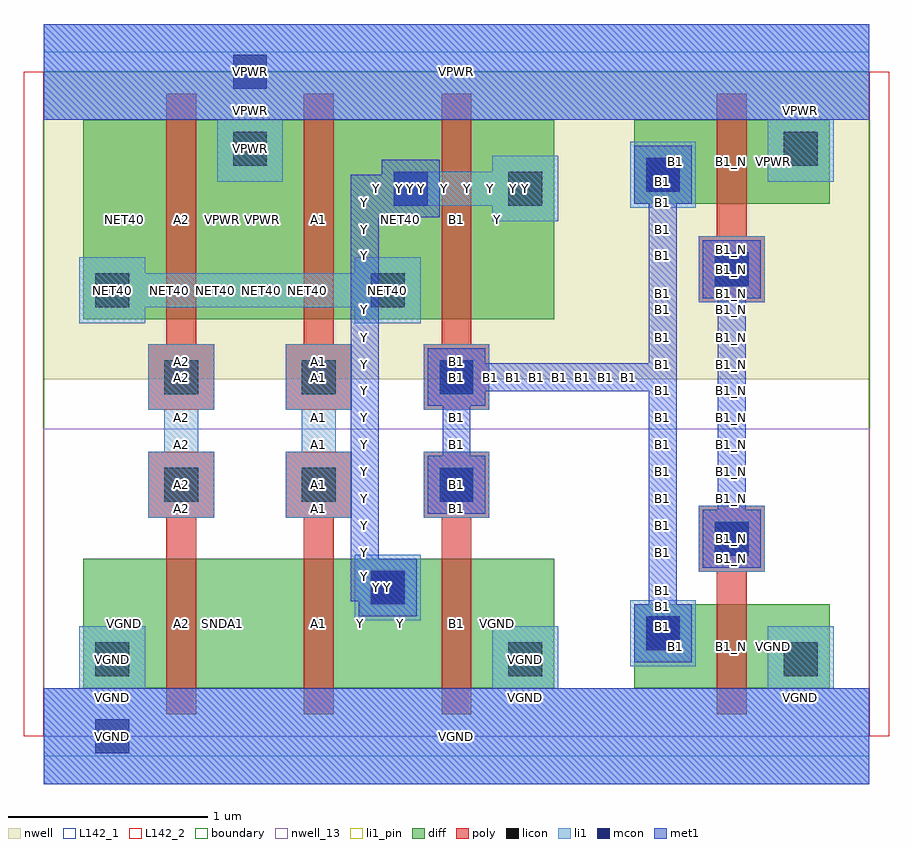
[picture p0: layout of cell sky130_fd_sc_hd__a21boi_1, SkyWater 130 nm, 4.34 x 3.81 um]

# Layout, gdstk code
import gdstk
lib = gdstk.Library(unit=1e-6, precision=1e-09)
def R(c, l, rs):  # rectangles x0, y0, x1, y1
    for r in rs: c.add(gdstk.rectangle(r[:2], r[2:], *l))
def A(c, l, x, y, w, h, nx, ny, dx, dy):  # array of equal rectangles
    R(c, l, [(x+i*dx, y+j*dy, x+i*dx+w, y+j*dy+h) for i in range(nx) for j in range(ny)])
def P(c, l, *ps):  # polygons
    for p in ps: c.add(gdstk.Polygon(p, *l))
nwell_13 = (64, 13)
nwell = (64, 20)
diff = (65, 20)
poly = (66, 20)
licon = (66, 44)
li1_pin = (67, 16)
li1 = (67, 20)
mcon = (67, 44)
met1 = (68, 20)
L142_1 = (142, 1)
L142_2 = (142, 2)
boundary = (235, 4)

sky130_fd_sc_hd__a21boi_ = lib.new_cell('sky130_fd_sc_hd__a21boi_1')
R(sky130_fd_sc_hd__a21boi_, nwell_13, [(0,0,4.14,1.54)])
R(sky130_fd_sc_hd__a21boi_, nwell, [(0,1.79,4.14,3.33)])
R(sky130_fd_sc_hd__a21boi_, diff, [(0.2,0.24,2.56,0.89), (0.2,0.24,0.615,0.89), (0.615,0.24,1.305,0.89), (1.305,0.24,1.995,0.89), (1.995,0.24,2.56,0.89), (2.96,0.24,3.94,0.66), (2.96,0.24,3.375,0.66), (3.375,0.24,3.94,0.66), (0.2,2.09,2.56,3.09), (0.2,2.09,0.615,3.09), (0.615,2.09,1.305,3.09), (1.305,2.09,1.995,3.09), (1.995,2.09,2.56,3.09), (2.96,2.67,3.94,3.09), (2.96,2.67,3.375,3.09), (3.375,2.67,3.94,3.09)])
P(sky130_fd_sc_hd__a21boi_, poly, [(3.375,0.11),(3.375,0.825),(3.285,0.825),(3.285,1.155),(3.615,1.155),(3.615,0.825),(3.525,0.825),(3.525,0.11)],
  [(3.285,2.175),(3.285,2.505),(3.375,2.505),(3.375,3.22),(3.525,3.22),(3.525,2.505),(3.615,2.505),(3.615,2.175)],
  [(0.615,0.11),(0.615,1.095),(0.525,1.095),(0.525,1.425),(0.855,1.425),(0.855,1.095),(0.765,1.095),(0.765,0.11)],
  [(0.525,1.635),(0.525,1.965),(0.615,1.965),(0.615,3.22),(0.765,3.22),(0.765,1.965),(0.855,1.965),(0.855,1.635)],
  [(1.305,0.11),(1.305,1.095),(1.215,1.095),(1.215,1.425),(1.545,1.425),(1.545,1.095),(1.455,1.095),(1.455,0.11)],
  [(1.215,1.635),(1.215,1.965),(1.305,1.965),(1.305,3.22),(1.455,3.22),(1.455,1.965),(1.545,1.965),(1.545,1.635)],
  [(1.995,0.11),(1.995,1.095),(1.905,1.095),(1.905,1.425),(2.235,1.425),(2.235,1.095),(2.145,1.095),(2.145,0.11)],
  [(1.905,1.635),(1.905,1.965),(1.995,1.965),(1.995,3.22),(2.145,3.22),(2.145,1.965),(2.235,1.965),(2.235,1.635)])
A(sky130_fd_sc_hd__a21boi_, licon, 0.605, 1.175, 0.17, 0.17, 3, 2, 0.69, 0.54)
R(sky130_fd_sc_hd__a21boi_, licon, [(0.26,0.3,0.43,0.47), (2.33,0.3,2.5,0.47), (3.71,0.3,3.88,0.47), (3.02,0.43,3.19,0.6), (1.64,0.66,1.81,0.83), (3.365,0.905,3.535,1.075), (0.26,2.15,0.43,2.32), (1.64,2.15,1.81,2.32), (3.365,2.255,3.535,2.425), (2.33,2.66,2.5,2.83), (3.02,2.73,3.19,2.9), (0.95,2.86,1.12,3.03), (3.71,2.86,3.88,3.03)])
R(sky130_fd_sc_hd__a21boi_, li1_pin, [(0,-0.24,4.14,0.24), (1.56,0.58,1.89,0.91), (3.285,0.825,3.615,1.155), (0,3.09,4.14,3.57)])
P(sky130_fd_sc_hd__a21boi_, li1_pin, [(0.525,1.095),(0.525,1.425),(0.605,1.425),(0.605,1.635),(0.525,1.635),(0.525,1.965),(0.855,1.965),(0.855,1.635),(0.775,1.635),(0.775,1.425),(0.855,1.425),(0.855,1.095)],
  [(1.215,1.095),(1.215,1.425),(1.295,1.425),(1.295,1.635),(1.215,1.635),(1.215,1.965),(1.545,1.965),(1.545,1.635),(1.465,1.635),(1.465,1.425),(1.545,1.425),(1.545,1.095)])
R(sky130_fd_sc_hd__a21boi_, li1, [(2.94,0.35,3.27,0.68), (1.56,0.58,1.89,0.91), (3.285,0.825,3.615,1.155), (1.905,1.095,2.235,1.425), (1.905,1.635,2.235,1.965), (3.285,2.175,3.615,2.505), (2.94,2.65,3.27,2.98)])
P(sky130_fd_sc_hd__a21boi_, li1, [(2.25,2.58),(2.25,2.66),(1.755,2.66),(1.755,2.83),(2.25,2.83),(2.25,2.91),(2.58,2.91),(2.58,2.58)],
  [(0.525,1.095),(0.525,1.425),(0.605,1.425),(0.605,1.635),(0.525,1.635),(0.525,1.965),(0.855,1.965),(0.855,1.635),(0.775,1.635),(0.775,1.425),(0.855,1.425),(0.855,1.095)],
  [(0.87,2.78),(0.87,3.09),(0,3.09),(0,3.57),(4.14,3.57),(4.14,3.09),(3.96,3.09),(3.96,2.78),(3.63,2.78),(3.63,3.09),(1.2,3.09),(1.2,2.78)],
  [(0.18,2.07),(0.18,2.4),(0.51,2.4),(0.51,2.32),(1.56,2.32),(1.56,2.4),(1.89,2.4),(1.89,2.07),(1.56,2.07),(1.56,2.15),(0.51,2.15),(0.51,2.07)],
  [(1.215,1.095),(1.215,1.425),(1.295,1.425),(1.295,1.635),(1.215,1.635),(1.215,1.965),(1.545,1.965),(1.545,1.635),(1.465,1.635),(1.465,1.425),(1.545,1.425),(1.545,1.095)],
  [(0,-0.24),(0,0.24),(0.18,0.24),(0.18,0.55),(0.51,0.55),(0.51,0.24),(2.25,0.24),(2.25,0.55),(2.58,0.55),(2.58,0.24),(3.63,0.24),(3.63,0.55),(3.96,0.55),(3.96,0.24),(4.14,0.24),(4.14,-0.24)])
R(sky130_fd_sc_hd__a21boi_, mcon, [(0.26,-0.085,0.43,0.085), (3.02,0.43,3.19,0.6), (1.64,0.66,1.81,0.83), (3.365,0.905,3.535,1.075), (1.985,1.175,2.155,1.345), (1.985,1.715,2.155,1.885), (3.365,2.255,3.535,2.425), (1.755,2.66,1.925,2.83), (3.02,2.73,3.19,2.9), (0.95,3.245,1.12,3.415)])
R(sky130_fd_sc_hd__a21boi_, met1, [(0,-0.24,4.14,0.24), (1.68,2.6,1.695,2.675), (0,3.09,4.14,3.57)])
P(sky130_fd_sc_hd__a21boi_, met1, [(1.58,0.6),(1.58,0.675),(1.54,0.675),(1.54,2.815),(1.695,2.815),(1.695,2.89),(1.985,2.89),(1.985,2.6),(1.695,2.6),(1.695,2.675),(1.68,2.675),(1.68,0.89),(1.87,0.89),(1.87,0.6)],
  [(3.305,0.845),(3.305,1.135),(3.38,1.135),(3.38,2.195),(3.305,2.195),(3.305,2.485),(3.595,2.485),(3.595,2.195),(3.52,2.195),(3.52,1.135),(3.595,1.135),(3.595,0.845)],
  [(2.96,0.37),(2.96,0.66),(3.035,0.66),(3.035,1.73),(2.215,1.73),(2.215,1.655),(2.14,1.655),(2.14,1.405),(2.215,1.405),(2.215,1.115),(1.925,1.115),(1.925,1.405),(2,1.405),(2,1.655),(1.925,1.655),(1.925,1.945),(2.215,1.945),(2.215,1.87),(3.035,1.87),(3.035,2.67),(2.96,2.67),(2.96,2.96),(3.25,2.96),(3.25,2.67),(3.175,2.67),(3.175,0.66),(3.25,0.66),(3.25,0.37)])
R(sky130_fd_sc_hd__a21boi_, L142_1, [(0,-0.1,4.14,0), (0,3.33,4.14,3.43)])
R(sky130_fd_sc_hd__a21boi_, L142_2, [(-0.1,0,0,3.33), (4.14,0,4.24,3.33)])
R(sky130_fd_sc_hd__a21boi_, boundary, [(0,0,4.14,3.33)])
sky130_fd_sc_hd__a21boi_.add(gdstk.Label('VGND', (0.407,0.565), layer=65, texttype=20))
sky130_fd_sc_hd__a21boi_.add(gdstk.Label('SNDA1', (0.897,0.565), layer=65, texttype=20))
sky130_fd_sc_hd__a21boi_.add(gdstk.Label('Y', (1.787,0.565), layer=65, texttype=20))
sky130_fd_sc_hd__a21boi_.add(gdstk.Label('VGND', (2.277,0.565), layer=65, texttype=20))
sky130_fd_sc_hd__a21boi_.add(gdstk.Label('B1', (3.167,0.45), layer=65, texttype=20))
sky130_fd_sc_hd__a21boi_.add(gdstk.Label('VGND', (3.657,0.45), layer=65, texttype=20))
sky130_fd_sc_hd__a21boi_.add(gdstk.Label('SNDA1', (1.097,0.565), layer=65, texttype=20))
sky130_fd_sc_hd__a21boi_.add(gdstk.Label('Y', (1.587,0.565), layer=65, texttype=20))
sky130_fd_sc_hd__a21boi_.add(gdstk.Label('VGND', (0.407,0.565), layer=65, texttype=20))
sky130_fd_sc_hd__a21boi_.add(gdstk.Label('SNDA1', (0.897,0.565), layer=65, texttype=20))
sky130_fd_sc_hd__a21boi_.add(gdstk.Label('Y', (1.787,0.565), layer=65, texttype=20))
sky130_fd_sc_hd__a21boi_.add(gdstk.Label('VGND', (2.277,0.565), layer=65, texttype=20))
sky130_fd_sc_hd__a21boi_.add(gdstk.Label('B1', (3.167,0.45), layer=65, texttype=20))
sky130_fd_sc_hd__a21boi_.add(gdstk.Label('VGND', (3.657,0.45), layer=65, texttype=20))
sky130_fd_sc_hd__a21boi_.add(gdstk.Label('SNDA1', (1.097,0.565), layer=65, texttype=20))
sky130_fd_sc_hd__a21boi_.add(gdstk.Label('Y', (1.587,0.565), layer=65, texttype=20))
sky130_fd_sc_hd__a21boi_.add(gdstk.Label('VGND', (0.345,0.385), layer=65, texttype=20))
sky130_fd_sc_hd__a21boi_.add(gdstk.Label('VGND', (2.415,0.385), layer=65, texttype=20))
sky130_fd_sc_hd__a21boi_.add(gdstk.Label('VGND', (3.795,0.385), layer=65, texttype=20))
sky130_fd_sc_hd__a21boi_.add(gdstk.Label('Y', (1.725,0.745), layer=65, texttype=20))
sky130_fd_sc_hd__a21boi_.add(gdstk.Label('B1', (3.105,0.515), layer=65, texttype=20))
sky130_fd_sc_hd__a21boi_.add(gdstk.Label('NET40', (0.407,2.59), layer=65, texttype=20))
sky130_fd_sc_hd__a21boi_.add(gdstk.Label('VPWR', (0.897,2.59), layer=65, texttype=20))
sky130_fd_sc_hd__a21boi_.add(gdstk.Label('NET40', (1.787,2.59), layer=65, texttype=20))
sky130_fd_sc_hd__a21boi_.add(gdstk.Label('Y', (2.277,2.59), layer=65, texttype=20))
sky130_fd_sc_hd__a21boi_.add(gdstk.Label('B1', (3.167,2.88), layer=65, texttype=20))
sky130_fd_sc_hd__a21boi_.add(gdstk.Label('VPWR', (3.657,2.88), layer=65, texttype=20))
sky130_fd_sc_hd__a21boi_.add(gdstk.Label('VPWR', (1.097,2.59), layer=65, texttype=20))
sky130_fd_sc_hd__a21boi_.add(gdstk.Label('NET40', (1.587,2.59), layer=65, texttype=20))
sky130_fd_sc_hd__a21boi_.add(gdstk.Label('NET40', (0.407,2.59), layer=65, texttype=20))
sky130_fd_sc_hd__a21boi_.add(gdstk.Label('VPWR', (0.897,2.59), layer=65, texttype=20))
sky130_fd_sc_hd__a21boi_.add(gdstk.Label('NET40', (1.787,2.59), layer=65, texttype=20))
sky130_fd_sc_hd__a21boi_.add(gdstk.Label('Y', (2.277,2.59), layer=65, texttype=20))
sky130_fd_sc_hd__a21boi_.add(gdstk.Label('B1', (3.167,2.88), layer=65, texttype=20))
sky130_fd_sc_hd__a21boi_.add(gdstk.Label('VPWR', (3.657,2.88), layer=65, texttype=20))
sky130_fd_sc_hd__a21boi_.add(gdstk.Label('VPWR', (1.097,2.59), layer=65, texttype=20))
sky130_fd_sc_hd__a21boi_.add(gdstk.Label('NET40', (1.587,2.59), layer=65, texttype=20))
sky130_fd_sc_hd__a21boi_.add(gdstk.Label('Y', (2.415,2.745), layer=65, texttype=20))
sky130_fd_sc_hd__a21boi_.add(gdstk.Label('B1', (3.105,2.815), layer=65, texttype=20))
sky130_fd_sc_hd__a21boi_.add(gdstk.Label('NET40', (0.345,2.235), layer=65, texttype=20))
sky130_fd_sc_hd__a21boi_.add(gdstk.Label('NET40', (1.725,2.235), layer=65, texttype=20))
sky130_fd_sc_hd__a21boi_.add(gdstk.Label('VPWR', (1.035,2.945), layer=65, texttype=20))
sky130_fd_sc_hd__a21boi_.add(gdstk.Label('VPWR', (3.795,2.945), layer=65, texttype=20))
sky130_fd_sc_hd__a21boi_.add(gdstk.Label('A2', (0.69,2.59), layer=66, texttype=20))
sky130_fd_sc_hd__a21boi_.add(gdstk.Label('B1', (2.07,2.59), layer=66, texttype=20))
sky130_fd_sc_hd__a21boi_.add(gdstk.Label('B1_N', (3.45,2.88), layer=66, texttype=20))
sky130_fd_sc_hd__a21boi_.add(gdstk.Label('A2', (0.69,0.565), layer=66, texttype=20))
sky130_fd_sc_hd__a21boi_.add(gdstk.Label('B1', (2.07,0.565), layer=66, texttype=20))
sky130_fd_sc_hd__a21boi_.add(gdstk.Label('A1', (1.38,2.59), layer=66, texttype=20))
sky130_fd_sc_hd__a21boi_.add(gdstk.Label('B1_N', (3.45,0.45), layer=66, texttype=20))
sky130_fd_sc_hd__a21boi_.add(gdstk.Label('A1', (1.38,0.565), layer=66, texttype=20))
sky130_fd_sc_hd__a21boi_.add(gdstk.Label('A2', (0.69,2.59), layer=66, texttype=20))
sky130_fd_sc_hd__a21boi_.add(gdstk.Label('B1', (2.07,2.59), layer=66, texttype=20))
sky130_fd_sc_hd__a21boi_.add(gdstk.Label('B1_N', (3.45,2.88), layer=66, texttype=20))
sky130_fd_sc_hd__a21boi_.add(gdstk.Label('A2', (0.69,0.565), layer=66, texttype=20))
sky130_fd_sc_hd__a21boi_.add(gdstk.Label('B1', (2.07,0.565), layer=66, texttype=20))
sky130_fd_sc_hd__a21boi_.add(gdstk.Label('A1', (1.38,2.59), layer=66, texttype=20))
sky130_fd_sc_hd__a21boi_.add(gdstk.Label('B1_N', (3.45,0.45), layer=66, texttype=20))
sky130_fd_sc_hd__a21boi_.add(gdstk.Label('A1', (1.38,0.565), layer=66, texttype=20))
sky130_fd_sc_hd__a21boi_.add(gdstk.Label('B1', (2.07,1.88), layer=66, texttype=20))
sky130_fd_sc_hd__a21boi_.add(gdstk.Label('B1', (2.07,1.14), layer=66, texttype=20))
sky130_fd_sc_hd__a21boi_.add(gdstk.Label('A2', (0.69,1.88), layer=66, texttype=20))
sky130_fd_sc_hd__a21boi_.add(gdstk.Label('A2', (0.69,1.14), layer=66, texttype=20))
sky130_fd_sc_hd__a21boi_.add(gdstk.Label('B1_N', (3.45,2.44), layer=66, texttype=20))
sky130_fd_sc_hd__a21boi_.add(gdstk.Label('B1_N', (3.45,0.89), layer=66, texttype=20))
sky130_fd_sc_hd__a21boi_.add(gdstk.Label('A1', (1.38,1.88), layer=66, texttype=20))
sky130_fd_sc_hd__a21boi_.add(gdstk.Label('A1', (1.38,1.14), layer=66, texttype=20))
sky130_fd_sc_hd__a21boi_.add(gdstk.Label('B1', (2.07,1.8), layer=66, texttype=20))
sky130_fd_sc_hd__a21boi_.add(gdstk.Label('B1', (2.07,1.26), layer=66, texttype=20))
sky130_fd_sc_hd__a21boi_.add(gdstk.Label('A2', (0.69,1.8), layer=66, texttype=20))
sky130_fd_sc_hd__a21boi_.add(gdstk.Label('A2', (0.69,1.26), layer=66, texttype=20))
sky130_fd_sc_hd__a21boi_.add(gdstk.Label('B1_N', (3.45,2.34), layer=66, texttype=20))
sky130_fd_sc_hd__a21boi_.add(gdstk.Label('B1_N', (3.45,0.99), layer=66, texttype=20))
sky130_fd_sc_hd__a21boi_.add(gdstk.Label('A1', (1.38,1.8), layer=66, texttype=20))
sky130_fd_sc_hd__a21boi_.add(gdstk.Label('A1', (1.38,1.26), layer=66, texttype=20))
sky130_fd_sc_hd__a21boi_.add(gdstk.Label('Y', (2.415,2.745), layer=66, texttype=44))
sky130_fd_sc_hd__a21boi_.add(gdstk.Label('B1', (3.105,2.815), layer=66, texttype=44))
sky130_fd_sc_hd__a21boi_.add(gdstk.Label('NET40', (0.345,2.235), layer=66, texttype=44))
sky130_fd_sc_hd__a21boi_.add(gdstk.Label('NET40', (1.725,2.235), layer=66, texttype=44))
sky130_fd_sc_hd__a21boi_.add(gdstk.Label('VPWR', (1.035,2.945), layer=66, texttype=44))
sky130_fd_sc_hd__a21boi_.add(gdstk.Label('VPWR', (3.795,2.945), layer=66, texttype=44))
sky130_fd_sc_hd__a21boi_.add(gdstk.Label('VGND', (0.345,0.385), layer=66, texttype=44))
sky130_fd_sc_hd__a21boi_.add(gdstk.Label('VGND', (2.415,0.385), layer=66, texttype=44))
sky130_fd_sc_hd__a21boi_.add(gdstk.Label('VGND', (3.795,0.385), layer=66, texttype=44))
sky130_fd_sc_hd__a21boi_.add(gdstk.Label('Y', (1.725,0.745), layer=66, texttype=44))
sky130_fd_sc_hd__a21boi_.add(gdstk.Label('B1', (3.105,0.515), layer=66, texttype=44))
sky130_fd_sc_hd__a21boi_.add(gdstk.Label('B1', (2.07,1.8), layer=66, texttype=44))
sky130_fd_sc_hd__a21boi_.add(gdstk.Label('B1', (2.07,1.26), layer=66, texttype=44))
sky130_fd_sc_hd__a21boi_.add(gdstk.Label('A2', (0.69,1.8), layer=66, texttype=44))
sky130_fd_sc_hd__a21boi_.add(gdstk.Label('A2', (0.69,1.26), layer=66, texttype=44))
sky130_fd_sc_hd__a21boi_.add(gdstk.Label('B1_N', (3.45,2.34), layer=66, texttype=44))
sky130_fd_sc_hd__a21boi_.add(gdstk.Label('B1_N', (3.45,0.99), layer=66, texttype=44))
sky130_fd_sc_hd__a21boi_.add(gdstk.Label('A1', (1.38,1.8), layer=66, texttype=44))
sky130_fd_sc_hd__a21boi_.add(gdstk.Label('A1', (1.38,1.26), layer=66, texttype=44))
sky130_fd_sc_hd__a21boi_.add(gdstk.Label('VPWR', (2.07,3.33), layer=67, texttype=20))
sky130_fd_sc_hd__a21boi_.add(gdstk.Label('VGND', (2.07,0), layer=67, texttype=20))
sky130_fd_sc_hd__a21boi_.add(gdstk.Label('VPWR', (2.07,3.33), layer=67, texttype=20))
sky130_fd_sc_hd__a21boi_.add(gdstk.Label('VGND', (2.07,0), layer=67, texttype=20))
sky130_fd_sc_hd__a21boi_.add(gdstk.Label('VGND', (0.345,0.192), layer=67, texttype=20))
sky130_fd_sc_hd__a21boi_.add(gdstk.Label('VGND', (2.415,0.192), layer=67, texttype=20))
sky130_fd_sc_hd__a21boi_.add(gdstk.Label('VGND', (3.795,0.192), layer=67, texttype=20))
sky130_fd_sc_hd__a21boi_.add(gdstk.Label('Y', (1.897,2.745), layer=67, texttype=20))
sky130_fd_sc_hd__a21boi_.add(gdstk.Label('Y', (2.012,2.745), layer=67, texttype=20))
sky130_fd_sc_hd__a21boi_.add(gdstk.Label('Y', (2.127,2.745), layer=67, texttype=20))
sky130_fd_sc_hd__a21boi_.add(gdstk.Label('Y', (2.242,2.745), layer=67, texttype=20))
sky130_fd_sc_hd__a21boi_.add(gdstk.Label('Y', (2.357,2.745), layer=67, texttype=20))
sky130_fd_sc_hd__a21boi_.add(gdstk.Label('NET40', (0.402,2.235), layer=67, texttype=20))
sky130_fd_sc_hd__a21boi_.add(gdstk.Label('NET40', (0.517,2.235), layer=67, texttype=20))
sky130_fd_sc_hd__a21boi_.add(gdstk.Label('NET40', (0.632,2.235), layer=67, texttype=20))
sky130_fd_sc_hd__a21boi_.add(gdstk.Label('NET40', (0.747,2.235), layer=67, texttype=20))
sky130_fd_sc_hd__a21boi_.add(gdstk.Label('NET40', (0.862,2.235), layer=67, texttype=20))
sky130_fd_sc_hd__a21boi_.add(gdstk.Label('NET40', (0.977,2.235), layer=67, texttype=20))
sky130_fd_sc_hd__a21boi_.add(gdstk.Label('NET40', (1.092,2.235), layer=67, texttype=20))
sky130_fd_sc_hd__a21boi_.add(gdstk.Label('NET40', (1.207,2.235), layer=67, texttype=20))
sky130_fd_sc_hd__a21boi_.add(gdstk.Label('NET40', (1.322,2.235), layer=67, texttype=20))
sky130_fd_sc_hd__a21boi_.add(gdstk.Label('NET40', (1.437,2.235), layer=67, texttype=20))
sky130_fd_sc_hd__a21boi_.add(gdstk.Label('NET40', (1.552,2.235), layer=67, texttype=20))
sky130_fd_sc_hd__a21boi_.add(gdstk.Label('NET40', (1.667,2.235), layer=67, texttype=20))
sky130_fd_sc_hd__a21boi_.add(gdstk.Label('VPWR', (1.035,3.137), layer=67, texttype=20))
sky130_fd_sc_hd__a21boi_.add(gdstk.Label('VPWR', (3.795,3.137), layer=67, texttype=20))
sky130_fd_sc_hd__a21boi_.add(gdstk.Label('A2', (0.69,1.732), layer=67, texttype=20))
sky130_fd_sc_hd__a21boi_.add(gdstk.Label('A2', (0.69,1.597), layer=67, texttype=20))
sky130_fd_sc_hd__a21boi_.add(gdstk.Label('A2', (0.69,1.462), layer=67, texttype=20))
sky130_fd_sc_hd__a21boi_.add(gdstk.Label('A2', (0.69,1.327), layer=67, texttype=20))
sky130_fd_sc_hd__a21boi_.add(gdstk.Label('A1', (1.38,1.732), layer=67, texttype=20))
sky130_fd_sc_hd__a21boi_.add(gdstk.Label('A1', (1.38,1.597), layer=67, texttype=20))
sky130_fd_sc_hd__a21boi_.add(gdstk.Label('A1', (1.38,1.462), layer=67, texttype=20))
sky130_fd_sc_hd__a21boi_.add(gdstk.Label('A1', (1.38,1.327), layer=67, texttype=20))
sky130_fd_sc_hd__a21boi_.add(gdstk.Label('VGND', (0.345,0.385), layer=67, texttype=20))
sky130_fd_sc_hd__a21boi_.add(gdstk.Label('VGND', (0.345,0), layer=67, texttype=20))
sky130_fd_sc_hd__a21boi_.add(gdstk.Label('VGND', (2.415,0.385), layer=67, texttype=20))
sky130_fd_sc_hd__a21boi_.add(gdstk.Label('VGND', (3.795,0.385), layer=67, texttype=20))
sky130_fd_sc_hd__a21boi_.add(gdstk.Label('Y', (1.725,0.745), layer=67, texttype=20))
sky130_fd_sc_hd__a21boi_.add(gdstk.Label('Y', (1.725,0.745), layer=67, texttype=20))
sky130_fd_sc_hd__a21boi_.add(gdstk.Label('Y', (1.84,2.745), layer=67, texttype=20))
sky130_fd_sc_hd__a21boi_.add(gdstk.Label('Y', (2.415,2.745), layer=67, texttype=20))
sky130_fd_sc_hd__a21boi_.add(gdstk.Label('B1', (3.105,0.515), layer=67, texttype=20))
sky130_fd_sc_hd__a21boi_.add(gdstk.Label('B1', (3.105,0.515), layer=67, texttype=20))
sky130_fd_sc_hd__a21boi_.add(gdstk.Label('B1', (3.105,2.815), layer=67, texttype=20))
sky130_fd_sc_hd__a21boi_.add(gdstk.Label('B1', (3.105,2.815), layer=67, texttype=20))
sky130_fd_sc_hd__a21boi_.add(gdstk.Label('B1', (2.07,1.8), layer=67, texttype=20))
sky130_fd_sc_hd__a21boi_.add(gdstk.Label('B1', (2.07,1.8), layer=67, texttype=20))
sky130_fd_sc_hd__a21boi_.add(gdstk.Label('B1', (2.07,1.26), layer=67, texttype=20))
sky130_fd_sc_hd__a21boi_.add(gdstk.Label('B1', (2.07,1.26), layer=67, texttype=20))
sky130_fd_sc_hd__a21boi_.add(gdstk.Label('NET40', (0.345,2.235), layer=67, texttype=20))
sky130_fd_sc_hd__a21boi_.add(gdstk.Label('NET40', (1.725,2.235), layer=67, texttype=20))
sky130_fd_sc_hd__a21boi_.add(gdstk.Label('VPWR', (1.035,2.945), layer=67, texttype=20))
sky130_fd_sc_hd__a21boi_.add(gdstk.Label('VPWR', (1.035,3.33), layer=67, texttype=20))
sky130_fd_sc_hd__a21boi_.add(gdstk.Label('VPWR', (3.795,2.945), layer=67, texttype=20))
sky130_fd_sc_hd__a21boi_.add(gdstk.Label('A2', (0.69,1.8), layer=67, texttype=20))
sky130_fd_sc_hd__a21boi_.add(gdstk.Label('A2', (0.69,1.26), layer=67, texttype=20))
sky130_fd_sc_hd__a21boi_.add(gdstk.Label('B1_N', (3.45,2.34), layer=67, texttype=20))
sky130_fd_sc_hd__a21boi_.add(gdstk.Label('B1_N', (3.45,2.34), layer=67, texttype=20))
sky130_fd_sc_hd__a21boi_.add(gdstk.Label('B1_N', (3.45,0.99), layer=67, texttype=20))
sky130_fd_sc_hd__a21boi_.add(gdstk.Label('B1_N', (3.45,0.99), layer=67, texttype=20))
sky130_fd_sc_hd__a21boi_.add(gdstk.Label('A1', (1.38,1.8), layer=67, texttype=20))
sky130_fd_sc_hd__a21boi_.add(gdstk.Label('A1', (1.38,1.26), layer=67, texttype=20))
sky130_fd_sc_hd__a21boi_.add(gdstk.Label('Y', (1.725,0.745), layer=67, texttype=5))
sky130_fd_sc_hd__a21boi_.add(gdstk.Label('A2', (0.69,1.26), layer=67, texttype=5))
sky130_fd_sc_hd__a21boi_.add(gdstk.Label('B1_N', (3.45,0.99), layer=67, texttype=5))
sky130_fd_sc_hd__a21boi_.add(gdstk.Label('A1', (1.38,1.26), layer=67, texttype=5))
sky130_fd_sc_hd__a21boi_.add(gdstk.Label('VGND', (2.07,0), layer=67, texttype=5))
sky130_fd_sc_hd__a21boi_.add(gdstk.Label('VPWR', (2.07,3.33), layer=67, texttype=5))
sky130_fd_sc_hd__a21boi_.add(gdstk.Label('VGND', (0.345,0), layer=67, texttype=44))
sky130_fd_sc_hd__a21boi_.add(gdstk.Label('Y', (1.725,0.745), layer=67, texttype=44))
sky130_fd_sc_hd__a21boi_.add(gdstk.Label('Y', (1.84,2.745), layer=67, texttype=44))
sky130_fd_sc_hd__a21boi_.add(gdstk.Label('B1', (3.105,0.515), layer=67, texttype=44))
sky130_fd_sc_hd__a21boi_.add(gdstk.Label('B1', (3.105,2.815), layer=67, texttype=44))
sky130_fd_sc_hd__a21boi_.add(gdstk.Label('B1', (2.07,1.8), layer=67, texttype=44))
sky130_fd_sc_hd__a21boi_.add(gdstk.Label('B1', (2.07,1.26), layer=67, texttype=44))
sky130_fd_sc_hd__a21boi_.add(gdstk.Label('VPWR', (1.035,3.33), layer=67, texttype=44))
sky130_fd_sc_hd__a21boi_.add(gdstk.Label('B1_N', (3.45,2.34), layer=67, texttype=44))
sky130_fd_sc_hd__a21boi_.add(gdstk.Label('B1_N', (3.45,0.99), layer=67, texttype=44))
sky130_fd_sc_hd__a21boi_.add(gdstk.Label('VPWR', (2.07,3.33), layer=68, texttype=20))
sky130_fd_sc_hd__a21boi_.add(gdstk.Label('VGND', (2.07,0), layer=68, texttype=20))
sky130_fd_sc_hd__a21boi_.add(gdstk.Label('VPWR', (2.07,3.33), layer=68, texttype=20))
sky130_fd_sc_hd__a21boi_.add(gdstk.Label('VGND', (2.07,0), layer=68, texttype=20))
sky130_fd_sc_hd__a21boi_.add(gdstk.Label('Y', (1.667,0.745), layer=68, texttype=20))
sky130_fd_sc_hd__a21boi_.add(gdstk.Label('Y', (1.61,0.8), layer=68, texttype=20))
sky130_fd_sc_hd__a21boi_.add(gdstk.Label('Y', (1.61,0.922), layer=68, texttype=20))
sky130_fd_sc_hd__a21boi_.add(gdstk.Label('Y', (1.61,1.057), layer=68, texttype=20))
sky130_fd_sc_hd__a21boi_.add(gdstk.Label('Y', (1.61,1.192), layer=68, texttype=20))
sky130_fd_sc_hd__a21boi_.add(gdstk.Label('Y', (1.61,1.327), layer=68, texttype=20))
sky130_fd_sc_hd__a21boi_.add(gdstk.Label('Y', (1.61,1.462), layer=68, texttype=20))
sky130_fd_sc_hd__a21boi_.add(gdstk.Label('Y', (1.61,1.597), layer=68, texttype=20))
sky130_fd_sc_hd__a21boi_.add(gdstk.Label('Y', (1.61,1.732), layer=68, texttype=20))
sky130_fd_sc_hd__a21boi_.add(gdstk.Label('Y', (1.61,1.862), layer=68, texttype=20))
sky130_fd_sc_hd__a21boi_.add(gdstk.Label('Y', (1.61,1.997), layer=68, texttype=20))
sky130_fd_sc_hd__a21boi_.add(gdstk.Label('Y', (1.61,2.137), layer=68, texttype=20))
sky130_fd_sc_hd__a21boi_.add(gdstk.Label('Y', (1.61,2.22), layer=68, texttype=20))
sky130_fd_sc_hd__a21boi_.add(gdstk.Label('Y', (1.61,2.287), layer=68, texttype=20))
sky130_fd_sc_hd__a21boi_.add(gdstk.Label('Y', (1.61,2.407), layer=68, texttype=20))
sky130_fd_sc_hd__a21boi_.add(gdstk.Label('Y', (1.61,2.542), layer=68, texttype=20))
sky130_fd_sc_hd__a21boi_.add(gdstk.Label('Y', (1.61,2.677), layer=68, texttype=20))
sky130_fd_sc_hd__a21boi_.add(gdstk.Label('Y', (1.667,2.745), layer=68, texttype=20))
sky130_fd_sc_hd__a21boi_.add(gdstk.Label('Y', (1.782,2.745), layer=68, texttype=20))
sky130_fd_sc_hd__a21boi_.add(gdstk.Label('B1', (3.105,0.55), layer=68, texttype=20))
sky130_fd_sc_hd__a21boi_.add(gdstk.Label('B1', (3.105,0.652), layer=68, texttype=20))
sky130_fd_sc_hd__a21boi_.add(gdstk.Label('B1', (3.105,0.732), layer=68, texttype=20))
sky130_fd_sc_hd__a21boi_.add(gdstk.Label('B1', (3.105,0.8), layer=68, texttype=20))
sky130_fd_sc_hd__a21boi_.add(gdstk.Label('B1', (3.105,0.922), layer=68, texttype=20))
sky130_fd_sc_hd__a21boi_.add(gdstk.Label('B1', (3.105,1.057), layer=68, texttype=20))
sky130_fd_sc_hd__a21boi_.add(gdstk.Label('B1', (3.105,1.192), layer=68, texttype=20))
sky130_fd_sc_hd__a21boi_.add(gdstk.Label('B1', (3.105,1.327), layer=68, texttype=20))
sky130_fd_sc_hd__a21boi_.add(gdstk.Label('B1', (3.105,1.462), layer=68, texttype=20))
sky130_fd_sc_hd__a21boi_.add(gdstk.Label('B1', (3.105,1.597), layer=68, texttype=20))
sky130_fd_sc_hd__a21boi_.add(gdstk.Label('B1', (3.105,1.732), layer=68, texttype=20))
sky130_fd_sc_hd__a21boi_.add(gdstk.Label('B1', (3.105,1.862), layer=68, texttype=20))
sky130_fd_sc_hd__a21boi_.add(gdstk.Label('B1', (3.047,1.8), layer=68, texttype=20))
sky130_fd_sc_hd__a21boi_.add(gdstk.Label('B1', (3.105,1.997), layer=68, texttype=20))
sky130_fd_sc_hd__a21boi_.add(gdstk.Label('B1', (3.105,2.137), layer=68, texttype=20))
sky130_fd_sc_hd__a21boi_.add(gdstk.Label('B1', (3.105,2.22), layer=68, texttype=20))
sky130_fd_sc_hd__a21boi_.add(gdstk.Label('B1', (3.105,2.287), layer=68, texttype=20))
sky130_fd_sc_hd__a21boi_.add(gdstk.Label('B1', (3.105,2.407), layer=68, texttype=20))
sky130_fd_sc_hd__a21boi_.add(gdstk.Label('B1', (3.105,2.542), layer=68, texttype=20))
sky130_fd_sc_hd__a21boi_.add(gdstk.Label('B1', (3.105,2.677), layer=68, texttype=20))
sky130_fd_sc_hd__a21boi_.add(gdstk.Label('B1', (3.105,2.78), layer=68, texttype=20))
sky130_fd_sc_hd__a21boi_.add(gdstk.Label('B1', (2.932,1.8), layer=68, texttype=20))
sky130_fd_sc_hd__a21boi_.add(gdstk.Label('B1', (2.817,1.8), layer=68, texttype=20))
sky130_fd_sc_hd__a21boi_.add(gdstk.Label('B1', (2.702,1.8), layer=68, texttype=20))
sky130_fd_sc_hd__a21boi_.add(gdstk.Label('B1', (2.587,1.8), layer=68, texttype=20))
sky130_fd_sc_hd__a21boi_.add(gdstk.Label('B1', (2.472,1.8), layer=68, texttype=20))
sky130_fd_sc_hd__a21boi_.add(gdstk.Label('B1', (2.357,1.8), layer=68, texttype=20))
sky130_fd_sc_hd__a21boi_.add(gdstk.Label('B1', (2.242,1.8), layer=68, texttype=20))
sky130_fd_sc_hd__a21boi_.add(gdstk.Label('B1', (2.127,1.8), layer=68, texttype=20))
sky130_fd_sc_hd__a21boi_.add(gdstk.Label('B1', (2.07,1.732), layer=68, texttype=20))
sky130_fd_sc_hd__a21boi_.add(gdstk.Label('B1', (2.07,1.597), layer=68, texttype=20))
sky130_fd_sc_hd__a21boi_.add(gdstk.Label('B1', (2.07,1.462), layer=68, texttype=20))
sky130_fd_sc_hd__a21boi_.add(gdstk.Label('B1', (2.07,1.327), layer=68, texttype=20))
sky130_fd_sc_hd__a21boi_.add(gdstk.Label('B1_N', (3.45,2.287), layer=68, texttype=20))
sky130_fd_sc_hd__a21boi_.add(gdstk.Label('B1_N', (3.45,2.22), layer=68, texttype=20))
sky130_fd_sc_hd__a21boi_.add(gdstk.Label('B1_N', (3.45,2.137), layer=68, texttype=20))
sky130_fd_sc_hd__a21boi_.add(gdstk.Label('B1_N', (3.45,1.997), layer=68, texttype=20))
sky130_fd_sc_hd__a21boi_.add(gdstk.Label('B1_N', (3.45,1.862), layer=68, texttype=20))
sky130_fd_sc_hd__a21boi_.add(gdstk.Label('B1_N', (3.45,1.732), layer=68, texttype=20))
sky130_fd_sc_hd__a21boi_.add(gdstk.Label('B1_N', (3.45,1.597), layer=68, texttype=20))
sky130_fd_sc_hd__a21boi_.add(gdstk.Label('B1_N', (3.45,1.462), layer=68, texttype=20))
sky130_fd_sc_hd__a21boi_.add(gdstk.Label('B1_N', (3.45,1.327), layer=68, texttype=20))
sky130_fd_sc_hd__a21boi_.add(gdstk.Label('B1_N', (3.45,1.192), layer=68, texttype=20))
sky130_fd_sc_hd__a21boi_.add(gdstk.Label('B1_N', (3.45,1.057), layer=68, texttype=20))
sky130_fd_sc_hd__a21boi_.add(gdstk.Label('VGND', (0.345,0), layer=68, texttype=20))
sky130_fd_sc_hd__a21boi_.add(gdstk.Label('Y', (1.725,0.745), layer=68, texttype=20))
sky130_fd_sc_hd__a21boi_.add(gdstk.Label('Y', (1.84,2.745), layer=68, texttype=20))
sky130_fd_sc_hd__a21boi_.add(gdstk.Label('B1', (3.105,0.515), layer=68, texttype=20))
sky130_fd_sc_hd__a21boi_.add(gdstk.Label('B1', (3.105,2.815), layer=68, texttype=20))
sky130_fd_sc_hd__a21boi_.add(gdstk.Label('B1', (2.07,1.8), layer=68, texttype=20))
sky130_fd_sc_hd__a21boi_.add(gdstk.Label('B1', (2.07,1.26), layer=68, texttype=20))
sky130_fd_sc_hd__a21boi_.add(gdstk.Label('VPWR', (1.035,3.33), layer=68, texttype=20))
sky130_fd_sc_hd__a21boi_.add(gdstk.Label('B1_N', (3.45,2.34), layer=68, texttype=20))
sky130_fd_sc_hd__a21boi_.add(gdstk.Label('B1_N', (3.45,0.99), layer=68, texttype=20))
sky130_fd_sc_hd__a21boi_.add(gdstk.Label('VGND', (2.07,0), layer=68, texttype=5))
sky130_fd_sc_hd__a21boi_.add(gdstk.Label('VPWR', (2.07,3.33), layer=68, texttype=5))

lib.write_gds('sky130_fd_sc_hd__a21boi_1.gds')
